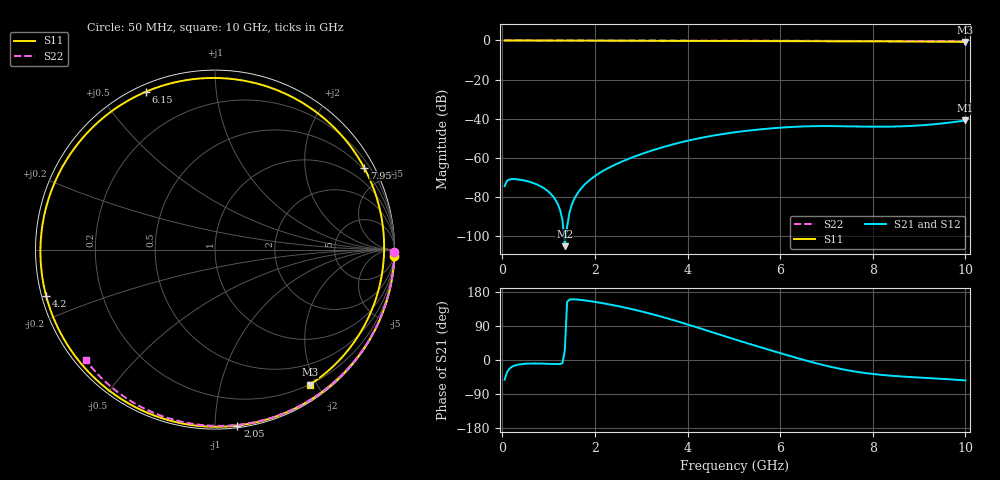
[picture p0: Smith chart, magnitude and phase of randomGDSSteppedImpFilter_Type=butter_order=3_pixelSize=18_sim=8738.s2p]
! freq	dB(S11)	phase(S11)	dB(S12)	phase(S12)
!  dB(S21)	phase(S21)	dB(S22)	phase(S22)
!S-par simulation data
#  GHz  S  DB  R 50
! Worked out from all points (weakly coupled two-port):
!   200 points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, 50 MHz to 10 GHz, reference 50 ohm
!   highest |S21| = -40.83 dB at 10 GHz (marker M1); lowest = -105.0 dB at 1.35 GHz (marker M2)
!   lowest |S11| = -0.7 dB at 10 GHz (marker M3), VSWR 23.74, Z = 9.84 - j95.4 ohm
!   |S11| at or under -10 dB: nowhere
!   |S22| runs from -0.5 to 0.0 dB; largest |S21 - S12| = 0
!   S11 on the Smith chart (normalised r, x): 50 MHz: 0, -55; 2.05 GHz: 0.01, -1.14; 4.2 GHz: 0.01, -0.14; 6.15 GHz: 0.03, +0.65; 7.95 GHz: 0.43, +3.85; 10 GHz: 0.20, -1.91
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0.05  -0.00 -2.1  -74.35 -51.9  -74.35 -51.9  -0.00 -0.8
0.1  -0.00 -4.2  -71.70 -32.7  -71.70 -32.7  -0.00 -1.6
0.15  -0.00 -6.3  -71.02 -23.6  -71.02 -23.6  -0.00 -2.4
0.45  -0.01 -18.7  -71.36 -10.3  -71.36 -10.3  -0.01 -7.3
0.85  -0.04 -35.1  -74.75 -9.6  -74.75 -9.6  -0.02 -13.7
1.1  -0.06 -45.3  -79.75 -10.7  -79.75 -10.7  -0.02 -17.6
1.35  -0.07 -55.3  -105.04 25.6  -105.04 25.6  -0.03 -21.6
1.55  -0.08 -63.2  -81.13 160.1  -81.13 160.1  -0.03 -24.7
1.75  -0.09 -71.1  -74.29 157.8  -74.29 157.8  -0.04 -27.8
2.05  -0.10 -82.8  -68.44 152.4  -68.44 152.4  -0.04 -32.5
2.7  -0.13 -107.6  -60.70 136.9  -60.70 136.9  -0.05 -42.4
3.4  -0.17 -134.1  -54.96 115.5  -54.96 115.5  -0.07 -52.9
4.2  -0.22 -164.6  -50.17 86.2  -50.17 86.2  -0.09 -64.6
5.05  -0.27 161.5  -46.80 53.3  -46.80 53.3  -0.12 -76.5
5.6  -0.31 138.2  -45.33 32.7  -45.33 32.7  -0.14 -84.0
6.15  -0.35 113.7  -44.29 12.8  -44.29 12.8  -0.16 -91.3
6.7  -0.39 88.1  -43.77 -6.1  -43.77 -6.1  -0.19 -98.5
7.3  -0.43 59.4  -43.79 -23.5  -43.79 -23.5  -0.23 -106.2
7.95  -0.46 28.8  -44.03 -36.1  -44.03 -36.1  -0.27 -114.4
8.35  -0.49 10.6  -44.01 -41.0  -44.01 -41.0  -0.31 -119.3
9.1  -0.57 -21.1  -43.24 -47.0  -43.24 -47.0  -0.38 -128.5
10  -0.73 -54.9  -40.83 -53.9  -40.83 -53.9  -0.47 -139.5
